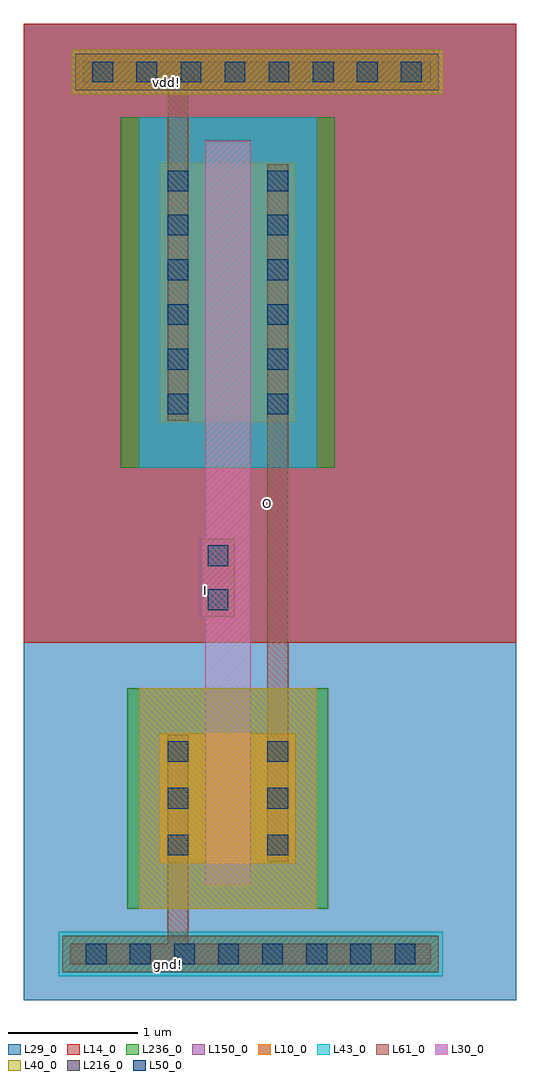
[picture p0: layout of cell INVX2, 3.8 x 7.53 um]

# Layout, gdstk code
import gdstk
lib = gdstk.Library(unit=1e-6, precision=1e-09)
def R(c, l, rs):  # rectangles x0, y0, x1, y1
    for r in rs: c.add(gdstk.rectangle(r[:2], r[2:], *l))
def A(c, l, x, y, w, h, nx, ny, dx, dy):  # array of equal rectangles
    R(c, l, [(x+i*dx, y+j*dy, x+i*dx+w, y+j*dy+h) for i in range(nx) for j in range(ny)])
L10_0 = (10, 0)
L14_0 = (14, 0)
L29_0 = (29, 0)
L30_0 = (30, 0)
L40_0 = (40, 0)
L43_0 = (43, 0)
L50_0 = (50, 0)
L61_0 = (61, 0)
L150_0 = (150, 0)
L216_0 = (216, 0)
L236_0 = (236, 0)

p33_mis_ckt_cdns_7810123 = lib.new_cell('p33_mis_ckt_CDNS_781012385820')
A(p33_mis_ckt_cdns_7810123, L10_0, -0.35, 0, 0.35, 2, 3, 1, 0.35, 0)
R(p33_mis_ckt_cdns_7810123, L14_0, [(-0.65,-0.3,1,2.3)])
R(p33_mis_ckt_cdns_7810123, L29_0, [(-0.6,-0.27,0.95,2.27)])
R(p33_mis_ckt_cdns_7810123, L30_0, [(0,-0.17,0.35,-0.07), (0,-0.07,0.35,0), (0,0,0.35,2), (0,2,0.35,2.07), (0,2.07,0.35,2.17)])
R(p33_mis_ckt_cdns_7810123, L43_0, [(-0.51,-0.35,0.86,2.35)])
A(p33_mis_ckt_cdns_7810123, L50_0, -0.29, 0.06, 0.16, 0.16, 1, 5, 0, 0.345)
A(p33_mis_ckt_cdns_7810123, L50_0, 0.48, 0.06, 0.16, 0.16, 1, 5, 0, 0.345)
R(p33_mis_ckt_cdns_7810123, L50_0, [(-0.29,1.78,-0.13,1.94), (0.48,1.78,0.64,1.94)])
R(p33_mis_ckt_cdns_7810123, L61_0, [(-0.29,0.01,-0.13,1.99), (0.48,0.01,0.64,1.99)])
R(p33_mis_ckt_cdns_7810123, L150_0, [(-0.51,-0.35,0.86,2.35)])
R(p33_mis_ckt_cdns_7810123, L236_0, [(-0.65,-0.35,1,2.35)])
p33_mis_ckt_cdns_7810123.add(gdstk.Label('& Metric 1.0', (0.024,0.007), layer=86, texttype=0))
p33_mis_ckt_cdns_7810123.add(gdstk.Label('& "Spice Model: TD-MM13-SP-2001v7P(v2.6) & TD-MM13-RM-2004v12R(v1.9)"', (0.156,0.017), layer=86, texttype=0))
p33_mis_ckt_cdns_7810123.add(gdstk.Label('& "Design Rule: TD-LO13-DR-2001v18P(v2.3) "', (0.094,0.027), layer=86, texttype=0))
p33_mis_ckt_cdns_7810123.add(gdstk.Label('& Version "PDK_Revision: v1.9, 24 July 2013"', (0.088,0.037), layer=86, texttype=0))
p33_mis_ckt_cdns_7810123.add(gdstk.Label('& Product "SMIC 0.13um MMRF 1.2/3.3V Cadence PDK"', (0.107,0.047), layer=86, texttype=0))
p33_mis_ckt_cdns_7810123.add(gdstk.Label('& Vendor "Semiconductor Manufacturing International Corporation."', (0.13,0.057), layer=86, texttype=0))

n33_mis_ckt_cdns_7810123 = lib.new_cell('n33_mis_ckt_CDNS_781012385821')
A(n33_mis_ckt_cdns_7810123, L10_0, -0.35, 0, 0.35, 1, 3, 1, 0.35, 0)
R(n33_mis_ckt_cdns_7810123, L29_0, [(-0.6,-0.27,0.95,1.27)])
R(n33_mis_ckt_cdns_7810123, L30_0, [(0,-0.17,0.35,-0.07), (0,-0.07,0.35,0), (0,0,0.35,1), (0,1,0.35,1.07), (0,1.07,0.35,1.17)])
R(n33_mis_ckt_cdns_7810123, L40_0, [(-0.51,-0.35,0.86,1.35)])
A(n33_mis_ckt_cdns_7810123, L50_0, -0.29, 0.06, 0.16, 0.16, 1, 3, 0, 0.36)
A(n33_mis_ckt_cdns_7810123, L50_0, 0.48, 0.06, 0.16, 0.16, 1, 3, 0, 0.36)
R(n33_mis_ckt_cdns_7810123, L61_0, [(-0.29,0.01,-0.13,0.99), (0.48,0.01,0.64,0.99)])
R(n33_mis_ckt_cdns_7810123, L150_0, [(-0.51,-0.35,0.86,1.35)])
R(n33_mis_ckt_cdns_7810123, L236_0, [(-0.6,-0.35,0.95,1.35)])
n33_mis_ckt_cdns_7810123.add(gdstk.Label('& Metric 1.0', (0.024,0.007), layer=86, texttype=0))
n33_mis_ckt_cdns_7810123.add(gdstk.Label('& "Spice Model: TD-MM13-SP-2001v7P(v2.6) & TD-MM13-RM-2004v12R(v1.9)"', (0.156,0.017), layer=86, texttype=0))
n33_mis_ckt_cdns_7810123.add(gdstk.Label('& "Design Rule: TD-LO13-DR-2001v18P(v2.3) "', (0.094,0.027), layer=86, texttype=0))
n33_mis_ckt_cdns_7810123.add(gdstk.Label('& Version "PDK_Revision: v1.9, 24 July 2013"', (0.088,0.037), layer=86, texttype=0))
n33_mis_ckt_cdns_7810123.add(gdstk.Label('& Product "SMIC 0.13um MMRF 1.2/3.3V Cadence PDK"', (0.107,0.047), layer=86, texttype=0))
n33_mis_ckt_cdns_7810123.add(gdstk.Label('& Vendor "Semiconductor Manufacturing International Corporation."', (0.13,0.057), layer=86, texttype=0))

pring_cdns_781012385822 = lib.new_cell('pring_CDNS_781012385822')
R(pring_cdns_781012385822, L10_0, [(0,0,2.9,0.28)])
R(pring_cdns_781012385822, L43_0, [(-0.03,-0.03,2.93,0.31)])
A(pring_cdns_781012385822, L50_0, 0.18, 0.06, 0.16, 0.16, 8, 1, 0.34, 0)
R(pring_cdns_781012385822, L61_0, [(0.06,0.06,2.84,0.22)])
pring_cdns_781012385822.add(gdstk.FlexPath([(0,0.14),(2.9,0.14)], 0.28, ends="flush", simple_path=True, layer=216, datatype=0))  # L216_0

nwring_cdns_781012385823 = lib.new_cell('nwring_CDNS_781012385823')
R(nwring_cdns_781012385823, L10_0, [(0,0,2.8,0.28)])
R(nwring_cdns_781012385823, L14_0, [(-0.16,-0.16,2.96,0.44)])
R(nwring_cdns_781012385823, L40_0, [(-0.03,-0.03,2.83,0.31)])
A(nwring_cdns_781012385823, L50_0, 0.13, 0.06, 0.16, 0.16, 8, 1, 0.34, 0)
R(nwring_cdns_781012385823, L61_0, [(0.06,0.06,2.74,0.22)])
nwring_cdns_781012385823.add(gdstk.FlexPath([(0,0.14),(2.8,0.14)], 0.28, ends="flush", simple_path=True, layer=216, datatype=0))  # L216_0

m1_gt_cdns_781012385820 = lib.new_cell('M1_GT_CDNS_781012385820')
R(m1_gt_cdns_781012385820, L30_0, [(-0.14,-0.31,0.14,0.31)])
R(m1_gt_cdns_781012385820, L50_0, [(-0.08,-0.25,0.08,-0.09), (-0.08,0.09,0.08,0.25)])
R(m1_gt_cdns_781012385820, L61_0, [(-0.13,-0.3,0.13,0.3)])

invx2 = lib.new_cell('INVX2')
R(invx2, L14_0, [(-0.3,2.4,3.5,7.17)])
R(invx2, L29_0, [(-0.3,-0.355,3.5,7.17)])
R(invx2, L61_0, [(0.815,-0.08,0.975,0.08), (1.1,2.8,1.26,2.96), (1.58,3.475,1.74,3.635), (0.8,6.72,0.96,6.88)])
invx2.add(gdstk.FlexPath([(1.275,6.27),(1.275,0.7)], 0.35, ends="flush", simple_path=True, layer=30, datatype=0))  # L30_0
invx2.add(gdstk.FlexPath([(0.89,1.69),(0.89,0)], 0.16, ends="flush", simple_path=True, layer=61, datatype=0))  # L61_0
invx2.add(gdstk.FlexPath([(1.66,6.09),(1.66,0.71)], 0.16, ends="flush", simple_path=True, layer=61, datatype=0))  # L61_0
invx2.add(gdstk.FlexPath([(0.89,4.11),(0.89,6.8)], 0.16, ends="flush", simple_path=True, layer=61, datatype=0))  # L61_0
invx2.add(gdstk.Reference(p33_mis_ckt_cdns_7810123, (1.1,4.1)))
invx2.add(gdstk.Reference(n33_mis_ckt_cdns_7810123, (1.1,0.7)))
invx2.add(gdstk.Reference(pring_cdns_781012385822, (0,-0.14)))
invx2.add(gdstk.Reference(nwring_cdns_781012385823, (0.1,6.66)))
invx2.add(gdstk.Reference(m1_gt_cdns_781012385820, (1.2,2.9)))
invx2.add(gdstk.Label('vdd!', (0.8,6.72), layer=61, texttype=0))
invx2.add(gdstk.Label('gnd!', (0.815,-0.08), layer=61, texttype=0))
invx2.add(gdstk.Label('O', (1.58,3.475), layer=61, texttype=0))
invx2.add(gdstk.Label('I', (1.1,2.8), layer=61, texttype=0))

lib.write_gds('INVX2.gds')
